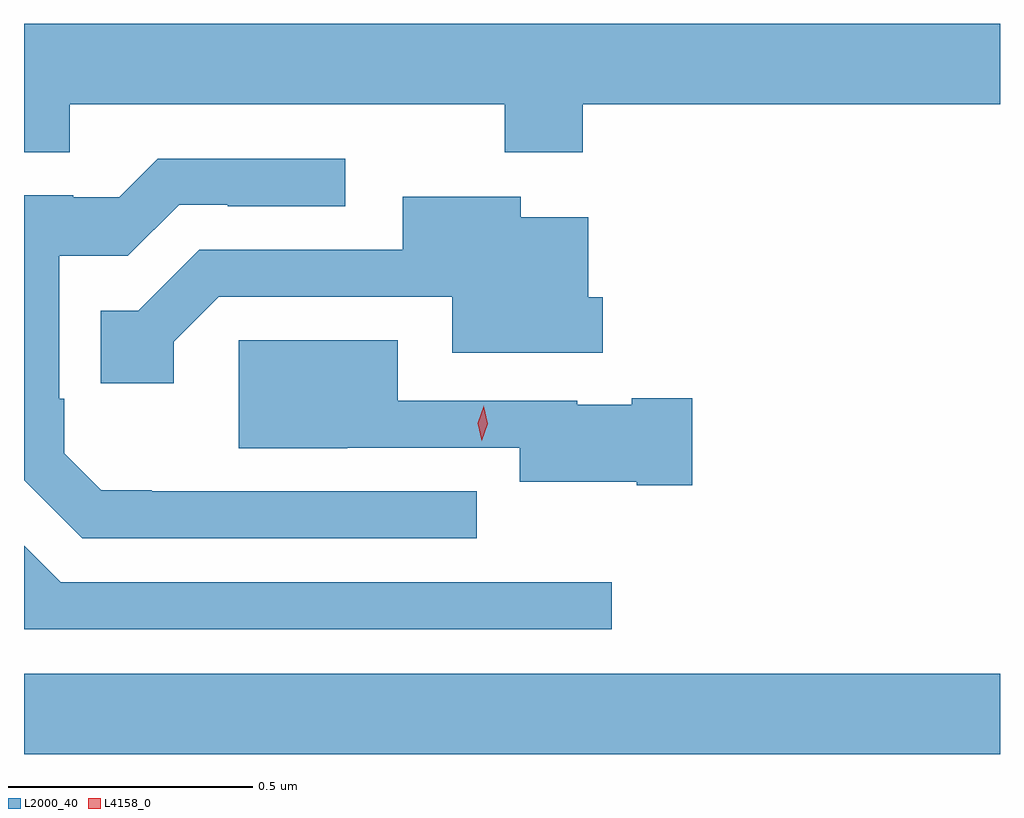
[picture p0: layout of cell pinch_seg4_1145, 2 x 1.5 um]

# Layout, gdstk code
import gdstk
lib = gdstk.Library(unit=1e-6, precision=1e-09)
def R(c, l, rs):  # rectangles x0, y0, x1, y1
    for r in rs: c.add(gdstk.rectangle(r[:2], r[2:], *l))
def P(c, l, *ps):  # polygons
    for p in ps: c.add(gdstk.Polygon(p, *l))
L2000_40 = (2000, 40)
L4158_0 = (4158, 0)

pinch_seg4_1145 = lib.new_cell('pinch_seg4_1145')
R(pinch_seg4_1145, L2000_40, [(450.282,826.124,452.282,826.288)])
P(pinch_seg4_1145, L2000_40, [(450.376,827.456),(451.267,827.456),(451.267,827.357),(451.427,827.357),(451.427,827.456),(452.282,827.456),(452.282,827.62),(450.282,827.62),(450.282,827.357),(450.376,827.357)],
  [(451.21,826.662),(450.544,826.662),(450.544,826.665),(450.44,826.665),(450.364,826.74),(450.364,826.852),(450.354,826.852),(450.354,827.145),(450.495,827.145),(450.6,827.25),(450.7,827.25),(450.7,827.247),(450.94,827.247),(450.94,827.344),(450.556,827.344),(450.477,827.265),(450.383,827.265),(450.383,827.269),(450.282,827.269),(450.282,826.685),(450.401,826.566),(451.21,826.566)],
  [(450.589,826.969),(450.681,827.061),(451.16,827.061),(451.16,826.946),(451.468,826.946),(451.468,827.06),(451.438,827.06),(451.438,827.224),(451.3,827.224),(451.3,827.266),(451.058,827.266),(451.058,827.157),(450.641,827.157),(450.516,827.032),(450.439,827.032),(450.439,826.884),(450.589,826.884)],
  [(451.651,826.853),(451.527,826.853),(451.527,826.84),(451.416,826.84),(451.416,826.848),(451.048,826.848),(451.048,826.972),(450.722,826.972),(450.722,826.751),(450.944,826.751),(450.944,826.752),(451.298,826.752),(451.298,826.682),(451.538,826.682),(451.538,826.675),(451.651,826.675)],
  [(451.486,826.476),(450.357,826.476),(450.282,826.551),(450.282,826.38),(451.486,826.38)])
P(pinch_seg4_1145, L4158_0, [(451.22,826.766),(451.22,826.766),(451.212,826.802),(451.224,826.837),(451.224,826.838),(451.224,826.837),(451.232,826.801),(451.22,826.766)])

lib.write_gds('pinch_seg4_1145.gds')
